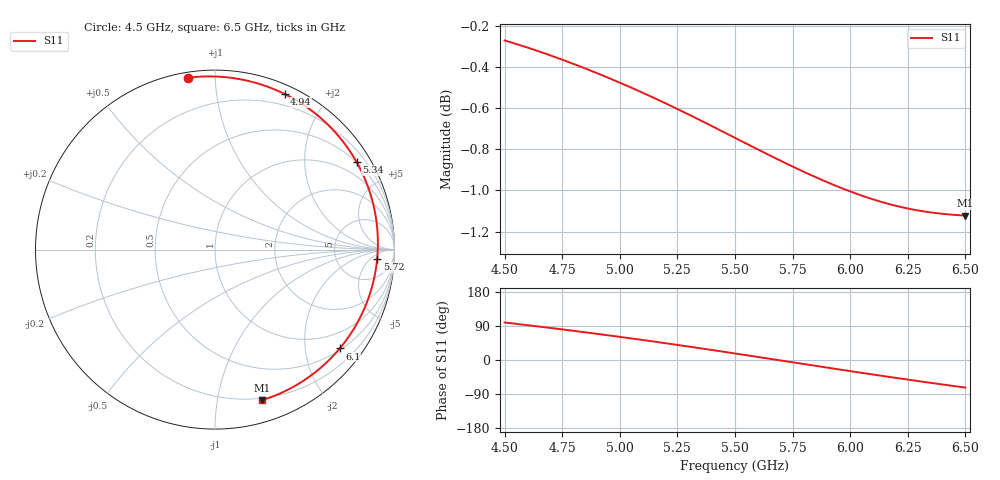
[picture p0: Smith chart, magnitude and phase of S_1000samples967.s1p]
! TOUCHSTONE file generated by CST MICROWAVE STUDIO
! Date and time: Sat Oct 29 22:57:51 2022
! Project name: L.cst
! Parameters = {Di=1.27; Epsilon_r=1.56; InnerDiameter=1.27; Length=2; Lf=10; Lg=60; OuterConductorThickness=0.2921; OuterDiameter=3.6; Wf=3; Wp=41.2; de=1.5; df=6.8; g=0.8; gx=4.77916; gy=4.66494; h=2.34; hf=1.524; px=9.72861; py=8.95265; w=9.7; wx=4.94945; wy=4.28771}
! Header version: 2018
! Port assignment regex: !\s*Touchstone port\s*([0-9]+)\s*=\s*(CST MWS port|CST DS port)\s*([0-9]+|Zmin|Zmax)\s*\(\"(.*)\"\)(\s*mode\s*([0-9]+))?.*
! Touchstone port assignment:
! Touchstone port 1 = CST MWS port 1 ("")
# GHz S DB R 50
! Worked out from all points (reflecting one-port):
!   101 points, 4.5 GHz to 6.5 GHz, reference 50 ohm
!   lowest |S11| = -1.1 dB at 6.5 GHz (marker M1), VSWR 15.51, Z = 9.09 - j67.1 ohm
!   phase of S11 starts at 99 deg and turns -172 deg over the sweep
!   S11 on the Smith chart (normalised r, x): 4.5 GHz: 0.03, +0.85; 4.94 GHz: 0.09, +1.54; 5.34 GHz: 0.49, +3.45; 5.72 GHz: 15, -9; 6.1 GHz: 0.54, -2.78; 6.5 GHz: 0.18, -1.34
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4.5  -0.27 98.9
4.58  -0.30 93.3
4.64  -0.32 88.9
4.76  -0.37 80.0
4.86  -0.41 72.3
4.94  -0.45 65.9
5  -0.48 61.0
5.06  -0.51 56.1
5.12  -0.54 51.0
5.18  -0.57 45.9
5.26  -0.61 38.9
5.34  -0.65 31.8
5.42  -0.70 24.6
5.5  -0.74 17.2
5.56  -0.78 11.7
5.62  -0.81 6.1
5.72  -0.87 -3.2
5.76  -0.89 -7.0
5.82  -0.92 -12.6
5.88  -0.95 -18.2
5.94  -0.98 -23.8
6  -1.00 -29.3
6.1  -1.04 -38.4
6.18  -1.07 -45.6
6.26  -1.09 -52.6
6.32  -1.10 -57.8
6.38  -1.11 -62.9
6.5  -1.12 -72.8
